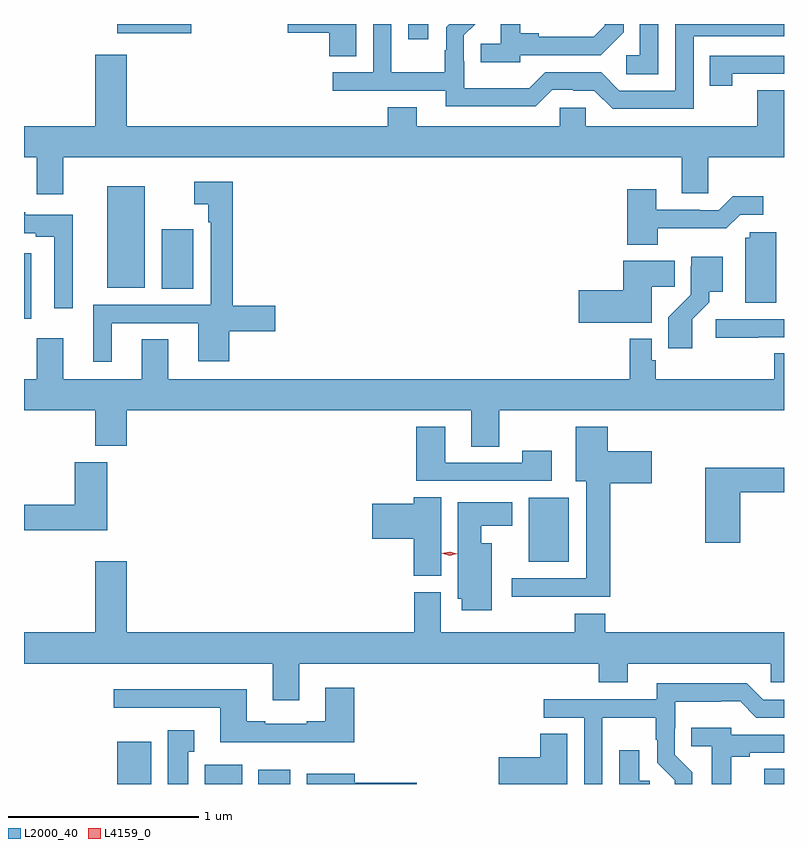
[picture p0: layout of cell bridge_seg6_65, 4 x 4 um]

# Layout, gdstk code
import gdstk
lib = gdstk.Library(unit=1e-6, precision=1e-09)
def R(c, l, rs):  # rectangles x0, y0, x1, y1
    for r in rs: c.add(gdstk.rectangle(r[:2], r[2:], *l))
def P(c, l, *ps):  # polygons
    for p in ps: c.add(gdstk.Polygon(p, *l))
L2000_40 = (2000, 40)
L4159_0 = (4159, 0)

bridge_seg6_65 = lib.new_cell('bridge_seg6_65')
R(bridge_seg6_65, L2000_40, [(836.45,950.698,836.629,950.92), (836.912,950.698,837.109,950.8), (837.194,950.698,837.361,950.773), (839.855,950.698,839.96,950.777), (838.616,951.869,838.828,952.204), (835.96,953.147,835.999,953.491), (836.684,953.305,836.851,953.617), (836.399,953.309,836.596,953.845), (837.983,954.618,838.087,954.698), (836.45,954.65,836.839,954.698), (835.96,954.697,836.254,954.698)])
P(bridge_seg6_65, L2000_40, [(839.484,954.633),(839.96,954.633),(839.96,954.698),(839.388,954.698),(839.388,954.348),(839.094,954.348),(838.998,954.444),(838.704,954.444),(838.619,954.359),(838.517,954.359),(838.517,954.361),(838.278,954.361),(838.278,954.501),(838.275,954.501),(838.275,954.639),(838.334,954.698),(838.198,954.698),(838.182,954.682),(838.182,954.561),(838.175,954.561),(838.175,954.445),(837.894,954.445),(837.894,954.698),(837.798,954.698),(837.798,954.444),(837.585,954.444),(837.585,954.348),(838.181,954.348),(838.181,954.264),(838.653,954.264),(838.74,954.351),(838.85,954.351),(838.85,954.348),(838.962,954.348),(839.058,954.252),(839.484,954.252)],
  [(838.573,954.534),(838.996,954.534),(839.117,954.655),(839.117,954.698),(839.016,954.698),(839.016,954.688),(838.958,954.63),(838.669,954.63),(838.669,954.65),(838.573,954.65),(838.573,954.698),(838.469,954.698),(838.469,954.594),(838.363,954.594),(838.363,954.497),(838.573,954.497)],
  [(837.709,954.698),(837.348,954.698),(837.348,954.653),(837.566,954.653),(837.566,954.529),(837.709,954.529)],
  [(839.298,954.698),(839.202,954.698),(839.202,954.534),(839.13,954.534),(839.13,954.433),(839.298,954.433)],
  [(836.167,953.996),(839.423,953.996),(839.423,953.806),(839.562,953.806),(839.562,953.996),(839.96,953.996),(839.96,954.35),(839.818,954.35),(839.818,954.16),(838.917,954.16),(838.917,954.258),(838.779,954.258),(838.779,954.16),(838.027,954.16),(838.027,954.259),(837.875,954.259),(837.875,954.16),(836.5,954.16),(836.5,954.535),(836.336,954.535),(836.336,954.16),(835.96,954.16),(835.96,953.996),(836.027,953.996),(836.027,953.802),(836.167,953.802)],
  [(839.688,954.435),(839.96,954.435),(839.96,954.531),(839.569,954.531),(839.569,954.372),(839.688,954.372)],
  [(836.422,953.124),(836.876,953.124),(836.876,952.923),(837.04,952.923),(837.04,953.081),(837.283,953.081),(837.283,953.216),(837.059,953.216),(837.059,953.869),(836.856,953.869),(836.856,953.75),(836.931,953.75),(836.931,953.654),(836.943,953.654),(836.943,953.22),(836.324,953.22),(836.324,952.92),(836.422,952.92)],
  [(839.295,953.622),(839.657,953.622),(839.73,953.694),(839.851,953.694),(839.851,953.791),(839.689,953.791),(839.616,953.718),(839.516,953.718),(839.516,953.721),(839.287,953.721),(839.287,953.827),(839.135,953.827),(839.135,953.537),(839.295,953.537)],
  [(836.216,953.694),(835.966,953.694),(835.966,953.707),(835.96,953.707),(835.96,953.598),(836.021,953.598),(836.021,953.578),(836.118,953.578),(836.118,953.202),(836.216,953.202)],
  [(839.92,953.601),(839.781,953.601),(839.781,953.574),(839.756,953.574),(839.756,953.23),(839.92,953.23)],
  [(839.476,953.143),(839.566,953.233),(839.566,953.288),(839.638,953.288),(839.638,953.473),(839.471,953.473),(839.471,953.424),(839.469,953.424),(839.469,953.273),(839.35,953.154),(839.35,952.992),(839.476,952.992)],
  [(839.263,953.314),(839.384,953.314),(839.384,953.452),(839.114,953.452),(839.114,953.297),(838.881,953.297),(838.881,953.126),(839.263,953.126)],
  [(839.825,953.049),(839.96,953.049),(839.96,953.145),(839.601,953.145),(839.601,953.047),(839.825,953.047)],
  [(838.461,952.664),(839.96,952.664),(839.96,952.964),(839.909,952.964),(839.909,952.828),(839.285,952.828),(839.285,952.929),(839.265,952.929),(839.265,953.041),(839.149,953.041),(839.149,952.828),(836.719,952.828),(836.719,953.039),(836.579,953.039),(836.579,952.828),(836.167,952.828),(836.167,953.044),(836.027,953.044),(836.027,952.828),(835.96,952.828),(835.96,952.664),(836.336,952.664),(836.336,952.477),(836.5,952.477),(836.5,952.664),(838.313,952.664),(838.313,952.474),(838.461,952.474)],
  [(838.738,952.453),(838.582,952.453),(838.582,952.389),(838.177,952.389),(838.177,952.579),(838.025,952.579),(838.025,952.293),(838.738,952.293)],
  [(839.045,952.28),(839.263,952.28),(839.263,952.45),(839.032,952.45),(839.032,952.579),(838.865,952.579),(838.865,952.292),(838.919,952.292),(838.919,951.78),(838.527,951.78),(838.527,951.683),(839.045,951.683)],
  [(836.399,952.392),(836.228,952.392),(836.228,952.169),(835.96,952.169),(835.96,952.033),(836.399,952.033)],
  [(839.729,952.234),(839.96,952.234),(839.96,952.363),(839.546,952.363),(839.546,951.969),(839.729,951.969)],
  [(838.156,952.208),(838.01,952.208),(838.01,952.172),(837.792,952.172),(837.792,951.989),(838.01,951.989),(838.01,951.793),(838.156,951.793)],
  [(838.423,951.964),(838.366,951.964),(838.366,952.058),(838.531,952.058),(838.531,952.18),(838.244,952.18),(838.244,951.672),(838.265,951.672),(838.265,951.612),(838.423,951.612)],
  [(837.409,951.332),(838.985,951.332),(838.985,951.233),(839.137,951.233),(839.137,951.332),(839.889,951.332),(839.889,951.234),(839.96,951.234),(839.96,951.496),(839.018,951.496),(839.018,951.595),(838.858,951.595),(838.858,951.496),(838.153,951.496),(838.153,951.708),(838.013,951.708),(838.013,951.496),(836.5,951.496),(836.5,951.871),(836.336,951.871),(836.336,951.496),(835.96,951.496),(835.96,951.332),(837.269,951.332),(837.269,951.138),(837.409,951.138)],
  [(839.004,951.047),(839.285,951.047),(839.285,950.931),(839.292,950.931),(839.292,950.81),(839.384,950.718),(839.384,950.698),(839.478,950.698),(839.478,950.76),(839.385,950.853),(839.385,950.991),(839.388,950.991),(839.388,951.131),(839.627,951.131),(839.627,951.134),(839.729,951.134),(839.814,951.048),(839.96,951.048),(839.96,951.141),(839.85,951.141),(839.763,951.228),(839.291,951.228),(839.291,951.144),(838.695,951.144),(838.695,951.048),(838.908,951.048),(838.908,950.698),(839.004,950.698)],
  [(837.698,951.205),(837.545,951.205),(837.545,951.028),(837.449,951.028),(837.449,951.015),(837.229,951.015),(837.229,951.028),(837.133,951.028),(837.133,951.196),(836.433,951.196),(836.433,951.099),(836.993,951.099),(836.993,950.918),(837.698,950.918)],
  [(839.683,950.842),(839.779,950.842),(839.779,950.862),(839.96,950.862),(839.96,950.958),(839.683,950.958),(839.683,950.995),(839.473,950.995),(839.473,950.898),(839.579,950.898),(839.579,950.698),(839.683,950.698)],
  [(836.824,950.867),(836.857,950.867),(836.857,950.98),(836.717,950.98),(836.717,950.698),(836.824,950.698)],
  [(838.819,950.963),(838.676,950.963),(838.676,950.84),(838.458,950.84),(838.458,950.698),(838.819,950.698)],
  [(839.253,950.715),(839.197,950.715),(839.197,950.875),(839.093,950.875),(839.093,950.698),(839.253,950.698)],
  [(838.028,950.705),(837.7,950.705),(837.7,950.752),(837.449,950.752),(837.449,950.698),(838.028,950.698)])
P(bridge_seg6_65, L4159_0, [(838.2,951.9),(838.159,951.912),(838.159,951.912),(838.159,951.912),(838.2,951.92),(838.241,951.909),(838.241,951.909),(838.241,951.909)])

lib.write_gds('bridge_seg6_65.gds')
